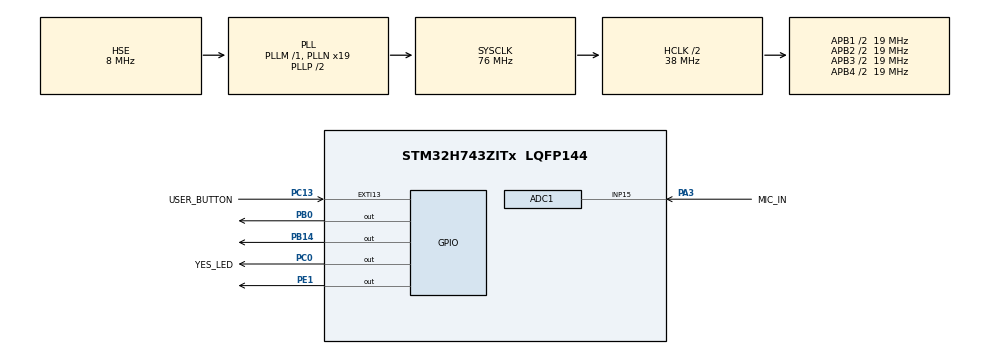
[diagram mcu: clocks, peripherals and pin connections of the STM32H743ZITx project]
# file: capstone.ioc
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ADC1.Channel-0\#ChannelRegularConversion=ADC_CHANNEL_15
ADC1.ClockPrescaler=ADC_CLOCK_ASYNC_DIV2
ADC1.ContinuousConvMode=DISABLE
ADC1.ConversionDataManagement=ADC_CONVERSIONDATA_DMA_CIRCULAR
ADC1.ExternalTrigConv=ADC_EXTERNALTRIG_T6_TRGO
ADC1.NbrOfConversionFlag=1
ADC1.OffsetNumber-0\#ChannelRegularConversion=ADC_OFFSET_NONE
ADC1.OffsetSignedSaturation-0\#ChannelRegularConversion=DISABLE
ADC1.Overrun=ADC_OVR_DATA_OVERWRITTEN
ADC1.Rank-0\#ChannelRegularConversion=1
ADC1.SamplingTime-0\#ChannelRegularConversion=ADC_SAMPLETIME_810CYCLES_5
ADC1.master=1
CORTEX_M7.CPU_DCache=Enabled
CORTEX_M7.CPU_ICache=Enabled
CORTEX_M7.default_mode_Activation=1
Dma.ADC1.0.Direction=DMA_PERIPH_TO_MEMORY
Dma.ADC1.0.EventEnable=DISABLE
Dma.ADC1.0.FIFOMode=DMA_FIFOMODE_DISABLE
Dma.ADC1.0.Instance=DMA1_Stream0
Dma.ADC1.0.MemDataAlignment=DMA_MDATAALIGN_HALFWORD
Dma.ADC1.0.MemInc=DMA_MINC_ENABLE
Dma.ADC1.0.Mode=DMA_CIRCULAR
Dma.ADC1.0.PeriphDataAlignment=DMA_PDATAALIGN_HALFWORD
Dma.ADC1.0.PeriphInc=DMA_PINC_DISABLE
Dma.ADC1.0.Polarity=HAL_DMAMUX_REQ_GEN_RISING
Dma.ADC1.0.Priority=DMA_PRIORITY_LOW
Dma.ADC1.0.RequestNumber=1
Dma.ADC1.0.SignalID=NONE
Dma.ADC1.0.SyncEnable=DISABLE
Dma.ADC1.0.SyncPolarity=HAL_DMAMUX_SYNC_NO_EVENT
Dma.ADC1.0.SyncRequestNumber=1
Dma.ADC1.0.SyncSignalID=NONE
Dma.Request0=ADC1
Mcu.Family=STM32H7
Mcu.Name=STM32H743ZITx
Mcu.Package=LQFP144
NUCLEO-H743ZI2.BUTTON=1
NUCLEO-H743ZI2.LD1=true
NUCLEO-H743ZI2.LD2=true
NUCLEO-H743ZI2.LD3=true
NUCLEO-H743ZI2.VCP=true
NVIC.DMA1_Stream0_IRQn=true\:0\:0\:false\:false\:true\:false\:true\:true
NVIC.EXTI15_10_IRQn=true\:0\:0\:false\:false\:true\:false\:true\:true
NVIC.PriorityGroup=NVIC_PRIORITYGROUP_4
PA13\ (JTMS/SWDIO).GPIO_Label=JTMS
PA13\ (JTMS/SWDIO).Signal=DEBUG_JTMS-SWDIO
PA14\ (JTCK/SWCLK).GPIO_Label=JTCK
PA14\ (JTCK/SWCLK).Signal=DEBUG_JTCK-SWCLK
PA3.GPIO_Label=MIC_IN
PA3.Signal=ADCx_INP15
PB0.Signal=GPIO_Output
PB14.Signal=GPIO_Output
PC0.GPIO_Label=YES_LED
PC0.Signal=GPIO_Output
PC13.GPIO_Label=USER_BUTTON
PC13.GPIO_PuPd=GPIO_PULLDOWN
PC13.Signal=GPXTI13
PC14-OSC32_IN\ (OSC32_IN).Signal=RCC_OSC32_IN
PC15-OSC32_OUT\ (OSC32_OUT).Signal=RCC_OSC32_OUT
PD8.Signal=USART3_TX
PD9.Signal=USART3_RX
PE1.Signal=GPIO_Output
PH0-OSC_IN\ (PH0).Mode=HSE-External-Clock-Source
PH0-OSC_IN\ (PH0).Signal=RCC_OSC_IN
PH1-OSC_OUT\ (PH1).Signal=RCC_OSC_OUT
ProjectManager.HeapSize=0x800
ProjectManager.StackSize=0x800
ProjectManager.TargetToolchain=STM32CubeIDE
RCC.ADCFreq_Value=76000000
RCC.APB1CLKDivider=RCC_HCLK_DIV4
RCC.APB1Freq_Value=19000000
RCC.APB2CLKDivider=RCC_HCLK_DIV2
RCC.APB2Freq_Value=19000000
RCC.APB3Freq_Value=19000000
RCC.APB4Freq_Value=19000000
RCC.CortexFreq_Value=76000000
RCC.D1PPRE=RCC_APB3_DIV2
RCC.D2PPRE1=RCC_APB1_DIV2
RCC.D2PPRE2=RCC_APB2_DIV2
RCC.D3PPRE=RCC_APB4_DIV2
RCC.DIVM1=1
RCC.DIVM2=1
RCC.DIVM3=4
RCC.DIVN1=19
RCC.DIVN2=19
RCC.DIVN3=480
RCC.DIVQ1=20
RCC.DIVQ3=8
RCC.FLatency=FLASH_LATENCY_0
RCC.HCLKFreq_Value=38000000
RCC.HPRE=RCC_HCLK_DIV2
RCC.HSE_VALUE=8000000
RCC.PLL2FRACN=0
RCC.PLLFRACN=0
RCC.PLLM=25
RCC.PLLMUL=RCC_PLL_MUL9
RCC.PLLN=432
RCC.PLLQ=9
RCC.PLLSourceVirtual=RCC_PLLSOURCE_HSE
RCC.PRESCALERUSB=RCC_USBCLKSOURCE_PLL_DIV1_5
RCC.PWR_Regulator_Voltage_Scale=PWR_REGULATOR_VOLTAGE_SCALE0
RCC.SYSCLKFreq_VALUE=76000000
RCC.SYSCLKSource=RCC_SYSCLKSOURCE_PLLCLK
RCC.SYSCLKSourceVirtual=RCC_SYSCLKSOURCE_PLLCLK
RCC.USBFreq_Value=7600000
SH.ADCx_INP15.0=ADC1_INP15,IN15-Single-Ended
STMicroelectronics.X-CUBE-AI.10.2.0.ActivationBufferSizeList=122760
STMicroelectronics.X-CUBE-AI.10.2.0.ActivationBuffers=pool0
STMicroelectronics.X-CUBE-AI.10.2.0.ActivationNames=pool0
STMicroelectronics.X-CUBE-AI.10.2.0.ActivationSizes=AI_NETWORK_DATA_ACTIVATION_1_SIZE
STMicroelectronics.X-CUBE-AI.10.2.0.HeapSize=0x800
STMicroelectronics.X-CUBE-AI.10.2.0.InternalRamActivationBufferMaxSize=AI_NETWORK_DATA_ACTIVATIONS_SIZE
STMicroelectronics.X-CUBE-AI.10.2.0.LatestDirectoryUsed-23a378911d3730022b36181c35f4ee57806923c5281fa32a20c0eb6b6d065218=/Users/parth/Documents/vscode/capstone/python
STMicroelectronics.X-CUBE-AI.10.2.0.MaximumNumberOfInputLayer=1
STMicroelectronics.X-CUBE-AI.10.2.0.MaximumNumberOfOutputLayer=1
STMicroelectronics.X-CUBE-AI.10.2.0.MaximumSizeOfInputLayer=1
STMicroelectronics.X-CUBE-AI.10.2.0.MaximumSizeOfOutputLayer=1
STMicroelectronics.X-CUBE-AI.10.2.0.ModelActualCompression-23a378911d3730022b36181c35f4ee57806923c5281fa32a20c0eb6b6d065218=0.0
STMicroelectronics.X-CUBE-AI.10.2.0.ModelCompression-23a378911d3730022b36181c35f4ee57806923c5281fa32a20c0eb6b6d065218=None
STMicroelectronics.X-CUBE-AI.10.2.0.ModelFlashOccupation-23a378911d3730022b36181c35f4ee57806923c5281fa32a20c0eb6b6d065218=1275524
STMicroelectronics.X-CUBE-AI.10.2.0.ModelHashList=23a378911d3730022b36181c35f4ee57806923c5281fa32a20c0eb6b6d065218
STMicroelectronics.X-CUBE-AI.10.2.0.ModelKind-23a378911d3730022b36181c35f4ee57806923c5281fa32a20c0eb6b6d065218=TFLITE
STMicroelectronics.X-CUBE-AI.10.2.0.ModelMacc-23a378911d3730022b36181c35f4ee57806923c5281fa32a20c0eb6b6d065218=3751632
STMicroelectronics.X-CUBE-AI.10.2.0.ModelName-23a378911d3730022b36181c35f4ee57806923c5281fa32a20c0eb6b6d065218=network
STMicroelectronics.X-CUBE-AI.10.2.0.ModelNameList=network
STMicroelectronics.X-CUBE-AI.10.2.0.ModelRamOccupation-23a378911d3730022b36181c35f4ee57806923c5281fa32a20c0eb6b6d065218=122760
STMicroelectronics.X-CUBE-AI.10.2.0.ModelStructureFile-23a378911d3730022b36181c35f4ee57806923c5281fa32a20c0eb6b6d065218=/Users/parth/Documents/vscode/capstone/python/kws_model.tflite
STMicroelectronics.X-CUBE-AI.10.2.0.ModelType-23a378911d3730022b36181c35f4ee57806923c5281fa32a20c0eb6b6d065218=STM32Cube.AI MCU runtime
STMicroelectronics.X-CUBE-AI.10.2.0.ReadyForCodeGeneration=true
STMicroelectronics.X-CUBE-AI.10.2.0.StackSize=0x800
STMicroelectronics.X-CUBE-AI.10.2.0.WorkingBufferStartAddrList=0xFFFFFFFF
STMicroelectronics.X-CUBE-AI.10.2.0.XAaCUBEAaAICcArtificialOoIntelligenceJjCore=true
STMicroelectronics.X-CUBE-AI.10.2.0.copyWeightToRam=false
STMicroelectronics.X-CUBE-AI.10.2.0.copyWeightToRam-23a378911d3730022b36181c35f4ee57806923c5281fa32a20c0eb6b6d065218=false
STMicroelectronics.X-CUBE-AI.10.2.0.customLayerConfigEnabled=false
STMicroelectronics.X-CUBE-AI.10.2.0.customLayerConfigEnabled-23a378911d3730022b36181c35f4ee57806923c5281fa32a20c0eb6b6d065218=false
STMicroelectronics.X-CUBE-AI.10.2.0.noOnnxIoTranspose=false
STMicroelectronics.X-CUBE-AI.10.2.0.noOnnxIoTranspose-23a378911d3730022b36181c35f4ee57806923c5281fa32a20c0eb6b6d065218=false
STMicroelectronics.X-CUBE-AI.10.2.0.optimization=time
STMicroelectronics.X-CUBE-AI.10.2.0.optimization-23a378911d3730022b36181c35f4ee57806923c5281fa32a20c0eb6b6d065218=time
STMicroelectronics.X-CUBE-AI.10.2.0.outputDirectory=/Users/parth/.stm32cubemx/attempt1_output
STMicroelectronics.X-CUBE-AI.10.2.0.useInputAllocation=true
STMicroelectronics.X-CUBE-AI.10.2.0.useInputAllocation-23a378911d3730022b36181c35f4ee57806923c5281fa32a20c0eb6b6d065218=true
STMicroelectronics.X-CUBE-AI.10.2.0.useOutputAllocation=true
STMicroelectronics.X-CUBE-AI.10.2.0.useOutputAllocation-23a378911d3730022b36181c35f4ee57806923c5281fa32a20c0eb6b6d065218=true
TIM1.Period=1999
TIM1.TIM_MasterOutputTrigger=TIM_TRGO_UPDATE
TIM6.Period=95-1
TIM6.Prescaler=25-1
TIM6.TIM_MasterOutputTrigger=TIM_TRGO_UPDATE
VP_CRC_VS_CRC.Mode=CRC_Activate
VP_MEMORYMAP_VS_MEMORYMAP.Mode=CurAppReg
VP_NUCLEO-H743ZI2_VS_BSP_COMMON.Mode=COMMON
VP_STMicroelectronics.X-CUBE-AI_VS_ArtificialOoIntelligenceJjXAaCUBEAaAI_10.2.0.Mode=ArtificialOoIntelligenceJjXAaCUBEAaAI
VP_TIM1_VS_ClockSourceINT.Mode=Internal
VP_TIM6_VS_ClockSourceINT.Mode=Enable_Timer
board=NUCLEO-H743ZI2

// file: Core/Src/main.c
/* USER CODE BEGIN Header */
/**
  ******************************************************************************
  * @file           : main.c
  * @brief          : Main program body
  ******************************************************************************
  * @attention
  *
  * Copyright (c) 2025 STMicroelectronics.
  * All rights reserved.
  *
  * This software is licensed under terms that can be found in the LICENSE file
  * in the root directory of this software component.
  * If no LICENSE file comes with this software, it is provided AS-IS.
  *
  ******************************************************************************
  */
/* USER CODE END Header */
#include "main.h"

/* USER CODE BEGIN Includes */
#include <arm_math.h>
#include "dsp_pipeline.h"
#include "cnn.h"
#include "test_audio.h"
/* USER CODE END Includes */

/* USER CODE BEGIN PD */
#define ADC_BUF_LEN 1024
#define ADC_TRANSIENT_LEN 32
#define ARM_MATH_CM7
#define __FPU_PRESENT 1
#define FFT_LEN 1024
#define SAMPLING_FREQ 48000
#define DF_1024 (SAMPLING_FREQ / 1024)
#define DF_256 (SAMPLING_FREQ / 256)
/* USER CODE END PD */

COM_InitTypeDef BspCOMInit;
ADC_HandleTypeDef hadc1;
DMA_HandleTypeDef hdma_adc1;

CRC_HandleTypeDef hcrc;

TIM_HandleTypeDef htim1;
TIM_HandleTypeDef htim6;

/* USER CODE BEGIN PV */
//float v_print = 0.0;
//volatile uint16_t adc_buffer[ADC_BUF_LEN];
//volatile uint8_t adc_buffer_filled = 0;
//float complex_array[ADC_BUF_LEN * 2];
//float complex_array_256[256 * 2];
//float complex_array_odd[ADC_BUF_LEN * 2];
//float fft_magnitude_1024[FFT_LEN];
//float fft_magnitude_256[256];
//float fft_magnitude_odd[FFT_LEN];
//
//float fft_2d_image[64][64*2];
//float fft_2d_magnitude[64][64];

extern float32_t full_audio[AUDIO_LENGTH];
extern volatile float32_t ai_out_data[3];

uint16_t raw_adc_buffer[16000];
volatile uint8_t half_transfer_ready = 0;
volatile uint8_t full_transfer_ready = 0;
volatile uint8_t button_pressed = 0;

/* USER CODE END PV */

void SystemClock_Config(void);
static void MPU_Config(void);
static void MX_GPIO_Init(void);
static void MX_DMA_Init(void);
static void MX_ADC1_Init(void);
static void MX_TIM1_Init(void);
static void MX_CRC_Init(void);
static void MX_TIM6_Init(void);

int main(void)
{

  /* MPU Configuration--------------------------------------------------------*/
  MPU_Config();

  /* Enable the CPU Cache */

  /* Enable I-Cache---------------------------------------------------------*/
  SCB_EnableICache();

  /* Enable D-Cache---------------------------------------------------------*/
  SCB_EnableDCache();

  /* MCU Configuration--------------------------------------------------------*/

  /* Reset of all peripherals, Initializes the Flash interface and the Systick. */
  HAL_Init();

  /* Configure the system clock */
  SystemClock_Config();

  /* Initialize all configured peripherals */
  MX_GPIO_Init();
  MX_DMA_Init();
  MX_ADC1_Init();
  MX_TIM1_Init();
  MX_CRC_Init();
  MX_TIM6_Init();
  /* USER CODE BEGIN 2 */

  if (HAL_ADCEx_Calibration_Start(&hadc1, ADC_CALIB_OFFSET, ADC_SINGLE_ENDED) != HAL_OK) {
	  Error_Handler();
  }

  HAL_TIM_Base_Start(&htim1);

  // Start the background DMA recording infinitely
  HAL_ADC_Start_DMA(&hadc1, (uint32_t*)raw_adc_buffer, 16000);
  HAL_TIM_Base_Start(&htim6);

  Init_Audio_Pipeline_Full();
  AI_Init();

  /* USER CODE END 2 */

  /* Initialize leds */
  BSP_LED_Init(LED_GREEN);
  BSP_LED_Init(LED_YELLOW);
  BSP_LED_Init(LED_RED);

  /* Initialize USER push-button, will be used to trigger an interrupt each time it's pressed.*/
  BSP_PB_Init(BUTTON_USER, BUTTON_MODE_EXTI);

  /* Initialize COM1 port (115200, 8 bits (7-bit data + 1 stop bit), no parity */
  BspCOMInit.BaudRate   = 115200;
  BspCOMInit.WordLength = COM_WORDLENGTH_8B;
  BspCOMInit.StopBits   = COM_STOPBITS_1;
  BspCOMInit.Parity     = COM_PARITY_NONE;
  BspCOMInit.HwFlowCtl  = COM_HWCONTROL_NONE;
  if (BSP_COM_Init(COM1, &BspCOMInit) != BSP_ERROR_NONE)
  {
    Error_Handler();
  }

  /* Infinite loop */
  while (1)
  {

    /* USER CODE BEGIN 3 */

	  // ==========================================
		// SCENARIO A: The First Half just finished
		// ==========================================
		if (half_transfer_ready) {
			half_transfer_ready = 0;

			// Calculate DC Bias for the whole buffer
			uint64_t sum = 0;
			for(int i = 0; i < 16000; i++) sum += raw_adc_buffer[i];
			float dc_bias = (float)sum / 16000.0f;

			// Stitch chronologically: [Older Second Half] + [New First Half]
			int out_idx = 0;
			for(int i = 8000; i < 16000; i++) {
				full_audio[out_idx++] = ((float)raw_adc_buffer[i] - dc_bias) / 32768.0f;
			}
			for(int i = 0; i < 8000; i++) {
				full_audio[out_idx++] = ((float)raw_adc_buffer[i] - dc_bias) / 32768.0f;
			}

			Process_Full_Audio();
			Run_AI_Inference();
		}

		// ==========================================
		// SCENARIO B: The Second Half just finished
		// ==========================================
		if (full_transfer_ready) {
			full_transfer_ready = 0;

			// Calculate DC Bias for the whole buffer
			uint64_t sum = 0;
			for(int i = 0; i < 16000; i++) sum += raw_adc_buffer[i];
			float dc_bias = (float)sum / 16000.0f;

			// The array is already in chronological order: [Old First Half] + [New Second Half]
			for(int i = 0; i < 16000; i++) {
				full_audio[i] = ((float)raw_adc_buffer[i] - dc_bias) / 32768.0f;
			}

			Process_Full_Audio();
			Run_AI_Inference();
		}

//	  if (button_pressed) {
//		  recording_complete = 0;
//
//		  // turn on adc & dma first
//		  HAL_ADC_Start_DMA(&hadc1, (uint32_t*)raw_adc_buffer, 16000);
//
//		  // start the timer
//		  HAL_TIM_Base_Start(&htim6);
//
//		  // wait until the adc buffer is filled
//		  while (!recording_complete) {
//
//		  }
//
//		  // at this point, we're done recording, and the adc+timer have turned off
//
//		  uint64_t sum = 0;
//		  for(int i = 0; i < 16000; i++) {
//		      sum += raw_adc_buffer[i];
//		  }
//		  float dc_bias = (float)sum / 16000.0f;
//
//		  // 2. Remove Bias, Normalize to [-1.0, 1.0], and copy to the AI buffer
//		  for(int i = 0; i < 16000; i++) {
//		      // Subtract the center, then scale by half the 16-bit max
//		      full_audio[i] = ((float)raw_adc_buffer[i] - dc_bias) / 32768.0f;
//		  }
//
//		  // 3. Run the pipeline!
//		  Process_Full_Audio();
//		  Run_AI_Inference();
//
//		  button_pressed = 0;
//	  }
//
	  if (ai_out_data[0] > 0.3) {
		  HAL_GPIO_WritePin(YES_LED_GPIO_Port, YES_LED_Pin, GPIO_PIN_SET);
	  } else {
		  HAL_GPIO_WritePin(YES_LED_GPIO_Port, YES_LED_Pin, GPIO_PIN_RESET);
	  }

//
//	  Init_Audio_Pipeline_Full();
//	  AI_Init();
//
//	  // copy over test array
//	  for(int i = 0; i < 16000; i++) {
//		full_audio[i] = TEST_AUDIO_UNKNOWN[i];
//	  }
//
//	  Process_Full_Audio();
//
//	  Run_AI_Inference();

//	  while (1) {
//
//	  }
  }
  /* USER CODE END 3 */
}

void SystemClock_Config(void)
{
  RCC_OscInitTypeDef RCC_OscInitStruct = {0};
  RCC_ClkInitTypeDef RCC_ClkInitStruct = {0};

  /** Supply configuration update enable
  */
  HAL_PWREx_ConfigSupply(PWR_LDO_SUPPLY);

  /** Configure the main internal regulator output voltage
  */
  __HAL_PWR_VOLTAGESCALING_CONFIG(PWR_REGULATOR_VOLTAGE_SCALE0);

  while(!__HAL_PWR_GET_FLAG(PWR_FLAG_VOSRDY)) {}

  /** Initializes the RCC Oscillators according to the specified parameters
  * in the RCC_OscInitTypeDef structure.
  */
  RCC_OscInitStruct.OscillatorType = RCC_OSCILLATORTYPE_HSE;
  RCC_OscInitStruct.HSEState = RCC_HSE_BYPASS;
  RCC_OscInitStruct.PLL.PLLState = RCC_PLL_ON;
  RCC_OscInitStruct.PLL.PLLSource = RCC_PLLSOURCE_HSE;
  RCC_OscInitStruct.PLL.PLLM = 1;
  RCC_OscInitStruct.PLL.PLLN = 19;
  RCC_OscInitStruct.PLL.PLLP = 2;
  RCC_OscInitStruct.PLL.PLLQ = 20;
  RCC_OscInitStruct.PLL.PLLR = 2;
  RCC_OscInitStruct.PLL.PLLRGE = RCC_PLL1VCIRANGE_3;
  RCC_OscInitStruct.PLL.PLLVCOSEL = RCC_PLL1VCOMEDIUM;
  RCC_OscInitStruct.PLL.PLLFRACN = 0;
  if (HAL_RCC_OscConfig(&RCC_OscInitStruct) != HAL_OK)
  {
    Error_Handler();
  }

  /** Initializes the CPU, AHB and APB buses clocks
  */
  RCC_ClkInitStruct.ClockType = RCC_CLOCKTYPE_HCLK|RCC_CLOCKTYPE_SYSCLK
                              |RCC_CLOCKTYPE_PCLK1|RCC_CLOCKTYPE_PCLK2
                              |RCC_CLOCKTYPE_D3PCLK1|RCC_CLOCKTYPE_D1PCLK1;
  RCC_ClkInitStruct.SYSCLKSource = RCC_SYSCLKSOURCE_PLLCLK;
  RCC_ClkInitStruct.SYSCLKDivider = RCC_SYSCLK_DIV1;
  RCC_ClkInitStruct.AHBCLKDivider = RCC_HCLK_DIV2;
  RCC_ClkInitStruct.APB3CLKDivider = RCC_APB3_DIV2;
  RCC_ClkInitStruct.APB1CLKDivider = RCC_APB1_DIV2;
  RCC_ClkInitStruct.APB2CLKDivider = RCC_APB2_DIV2;
  RCC_ClkInitStruct.APB4CLKDivider = RCC_APB4_DIV2;

  if (HAL_RCC_ClockConfig(&RCC_ClkInitStruct, FLASH_LATENCY_0) != HAL_OK)
  {
    Error_Handler();
  }
}

static void MX_ADC1_Init(void)
{

  ADC_MultiModeTypeDef multimode = {0};
  ADC_ChannelConfTypeDef sConfig = {0};

  /** Common config
  */
  hadc1.Instance = ADC1;
  hadc1.Init.ClockPrescaler = ADC_CLOCK_ASYNC_DIV2;
  hadc1.Init.Resolution = ADC_RESOLUTION_16B;
  hadc1.Init.ScanConvMode = ADC_SCAN_DISABLE;
  hadc1.Init.EOCSelection = ADC_EOC_SINGLE_CONV;
  hadc1.Init.LowPowerAutoWait = DISABLE;
  hadc1.Init.ContinuousConvMode = DISABLE;
  hadc1.Init.NbrOfConversion = 1;
  hadc1.Init.DiscontinuousConvMode = DISABLE;
  hadc1.Init.ExternalTrigConv = ADC_EXTERNALTRIG_T6_TRGO;
  hadc1.Init.ExternalTrigConvEdge = ADC_EXTERNALTRIGCONVEDGE_RISING;
  hadc1.Init.ConversionDataManagement = ADC_CONVERSIONDATA_DMA_CIRCULAR;
  hadc1.Init.Overrun = ADC_OVR_DATA_OVERWRITTEN;
  hadc1.Init.LeftBitShift = ADC_LEFTBITSHIFT_NONE;
  hadc1.Init.OversamplingMode = DISABLE;
  hadc1.Init.Oversampling.Ratio = 1;
  if (HAL_ADC_Init(&hadc1) != HAL_OK)
  {
    Error_Handler();
  }

  /** Configure the ADC multi-mode
  */
  multimode.Mode = ADC_MODE_INDEPENDENT;
  if (HAL_ADCEx_MultiModeConfigChannel(&hadc1, &multimode) != HAL_OK)
  {
    Error_Handler();
  }

  /** Configure Regular Channel
  */
  sConfig.Channel = ADC_CHANNEL_15;
  sConfig.Rank = ADC_REGULAR_RANK_1;
  sConfig.SamplingTime = ADC_SAMPLETIME_810CYCLES_5;
  sConfig.SingleDiff = ADC_SINGLE_ENDED;
  sConfig.OffsetNumber = ADC_OFFSET_NONE;
  sConfig.Offset = 0;
  sConfig.OffsetSignedSaturation = DISABLE;
  if (HAL_ADC_ConfigChannel(&hadc1, &sConfig) != HAL_OK)
  {
    Error_Handler();
  }

}

static void MX_CRC_Init(void)
{

  hcrc.Instance = CRC;
  hcrc.Init.DefaultPolynomialUse = DEFAULT_POLYNOMIAL_ENABLE;
  hcrc.Init.DefaultInitValueUse = DEFAULT_INIT_VALUE_ENABLE;
  hcrc.Init.InputDataInversionMode = CRC_INPUTDATA_INVERSION_NONE;
  hcrc.Init.OutputDataInversionMode = CRC_OUTPUTDATA_INVERSION_DISABLE;
  hcrc.InputDataFormat = CRC_INPUTDATA_FORMAT_BYTES;
  if (HAL_CRC_Init(&hcrc) != HAL_OK)
  {
    Error_Handler();
  }

}

static void MX_TIM1_Init(void)
{

  TIM_ClockConfigTypeDef sClockSourceConfig = {0};
  TIM_MasterConfigTypeDef sMasterConfig = {0};

  htim1.Instance = TIM1;
  htim1.Init.Prescaler = 0;
  htim1.Init.CounterMode = TIM_COUNTERMODE_UP;
  htim1.Init.Period = 1999;
  htim1.Init.ClockDivision = TIM_CLOCKDIVISION_DIV1;
  htim1.Init.RepetitionCounter = 0;
  htim1.Init.AutoReloadPreload = TIM_AUTORELOAD_PRELOAD_DISABLE;
  if (HAL_TIM_Base_Init(&htim1) != HAL_OK)
  {
    Error_Handler();
  }
  sClockSourceConfig.ClockSource = TIM_CLOCKSOURCE_INTERNAL;
  if (HAL_TIM_ConfigClockSource(&htim1, &sClockSourceConfig) != HAL_OK)
  {
    Error_Handler();
  }
  sMasterConfig.MasterOutputTrigger = TIM_TRGO_UPDATE;
  sMasterConfig.MasterOutputTrigger2 = TIM_TRGO2_RESET;
  sMasterConfig.MasterSlaveMode = TIM_MASTERSLAVEMODE_DISABLE;
  if (HAL_TIMEx_MasterConfigSynchronization(&htim1, &sMasterConfig) != HAL_OK)
  {
    Error_Handler();
  }

}

static void MX_TIM6_Init(void)
{

  TIM_MasterConfigTypeDef sMasterConfig = {0};

  htim6.Instance = TIM6;
  htim6.Init.Prescaler = 25-1;
  htim6.Init.CounterMode = TIM_COUNTERMODE_UP;
  htim6.Init.Period = 95-1;
  htim6.Init.AutoReloadPreload = TIM_AUTORELOAD_PRELOAD_DISABLE;
  if (HAL_TIM_Base_Init(&htim6) != HAL_OK)
  {
    Error_Handler();
  }
  sMasterConfig.MasterOutputTrigger = TIM_TRGO_UPDATE;
  sMasterConfig.MasterSlaveMode = TIM_MASTERSLAVEMODE_DISABLE;
  if (HAL_TIMEx_MasterConfigSynchronization(&htim6, &sMasterConfig) != HAL_OK)
  {
    Error_Handler();
  }

}

static void MX_DMA_Init(void)
{

  /* DMA controller clock enable */
  __HAL_RCC_DMA1_CLK_ENABLE();

  /* DMA interrupt init */
  /* DMA1_Stream0_IRQn interrupt configuration */
  HAL_NVIC_SetPriority(DMA1_Stream0_IRQn, 0, 0);
  HAL_NVIC_EnableIRQ(DMA1_Stream0_IRQn);

}

static void MX_GPIO_Init(void)
{
  GPIO_InitTypeDef GPIO_InitStruct = {0};

  /* GPIO Ports Clock Enable */
  __HAL_RCC_GPIOC_CLK_ENABLE();
  __HAL_RCC_GPIOH_CLK_ENABLE();
  __HAL_RCC_GPIOA_CLK_ENABLE();
  __HAL_RCC_GPIOB_CLK_ENABLE();
  __HAL_RCC_GPIOD_CLK_ENABLE();
  __HAL_RCC_GPIOE_CLK_ENABLE();

  /*Configure GPIO pin Output Level */
  HAL_GPIO_WritePin(YES_LED_GPIO_Port, YES_LED_Pin, GPIO_PIN_RESET);

  /*Configure GPIO pin Output Level */
  HAL_GPIO_WritePin(GPIOB, GPIO_PIN_0|GPIO_PIN_14, GPIO_PIN_RESET);

  /*Configure GPIO pin Output Level */
  HAL_GPIO_WritePin(GPIOE, GPIO_PIN_1, GPIO_PIN_RESET);

  /*Configure GPIO pin : USER_BUTTON_Pin */
  GPIO_InitStruct.Pin = USER_BUTTON_Pin;
  GPIO_InitStruct.Mode = GPIO_MODE_IT_RISING;
  GPIO_InitStruct.Pull = GPIO_PULLDOWN;
  HAL_GPIO_Init(USER_BUTTON_GPIO_Port, &GPIO_InitStruct);

  /*Configure GPIO pin : YES_LED_Pin */
  GPIO_InitStruct.Pin = YES_LED_Pin;
  GPIO_InitStruct.Mode = GPIO_MODE_OUTPUT_PP;
  GPIO_InitStruct.Pull = GPIO_NOPULL;
  GPIO_InitStruct.Speed = GPIO_SPEED_FREQ_LOW;
  HAL_GPIO_Init(YES_LED_GPIO_Port, &GPIO_InitStruct);

  /*Configure GPIO pins : PB0 PB14 */
  GPIO_InitStruct.Pin = GPIO_PIN_0|GPIO_PIN_14;
  GPIO_InitStruct.Mode = GPIO_MODE_OUTPUT_PP;
  GPIO_InitStruct.Pull = GPIO_NOPULL;
  GPIO_InitStruct.Speed = GPIO_SPEED_FREQ_LOW;
  HAL_GPIO_Init(GPIOB, &GPIO_InitStruct);

  /*Configure GPIO pins : PD8 PD9 */
  GPIO_InitStruct.Pin = GPIO_PIN_8|GPIO_PIN_9;
  GPIO_InitStruct.Mode = GPIO_MODE_AF_PP;
  GPIO_InitStruct.Pull = GPIO_NOPULL;
  GPIO_InitStruct.Speed = GPIO_SPEED_FREQ_LOW;
  GPIO_InitStruct.Alternate = GPIO_AF7_USART3;
  HAL_GPIO_Init(GPIOD, &GPIO_InitStruct);

  /*Configure GPIO pin : PE1 */
  GPIO_InitStruct.Pin = GPIO_PIN_1;
  GPIO_InitStruct.Mode = GPIO_MODE_OUTPUT_PP;
  GPIO_InitStruct.Pull = GPIO_NOPULL;
  GPIO_InitStruct.Speed = GPIO_SPEED_FREQ_LOW;
  HAL_GPIO_Init(GPIOE, &GPIO_InitStruct);

  /* EXTI interrupt init*/
  HAL_NVIC_SetPriority(USER_BUTTON_EXTI_IRQn, 0, 0);
  HAL_NVIC_EnableIRQ(USER_BUTTON_EXTI_IRQn);

}

/* USER CODE BEGIN 4 */
// Fires when indices 0-7999 are just filled (0.5 seconds in)
void HAL_ADC_ConvHalfCpltCallback(ADC_HandleTypeDef* hadc) {
    if(hadc->Instance == ADC1) {
        half_transfer_ready = 1;
    }
}

// Fires when indices 8000-15999 are just filled (1.0 seconds in)
void HAL_ADC_ConvCpltCallback(ADC_HandleTypeDef* hadc) {
    if(hadc->Instance == ADC1) {
        full_transfer_ready = 1;
    }
}
int _write(int file, char *ptr, int len)
{
	int i = 0;
	for (i = 0; i < len; i++) {
		ITM_SendChar((*ptr++));
	}
	return len;
}

void HAL_GPIO_EXTI_Callback(uint16_t GPIO_Pin) {
	switch (GPIO_Pin) {
	case USER_BUTTON_Pin: {
		button_pressed = 1;
//		HAL_GPIO_TogglePin(RED_LED_GPIO_Port, RED_LED_Pin);
		break;
	}
	}
}
/* USER CODE END 4 */

 /* MPU Configuration */

void MPU_Config(void)
{
  MPU_Region_InitTypeDef MPU_InitStruct = {0};

  /* Disables the MPU */
  HAL_MPU_Disable();

  /** Initializes and configures the Region and the memory to be protected
  */
  MPU_InitStruct.Enable = MPU_REGION_ENABLE;
  MPU_InitStruct.Number = MPU_REGION_NUMBER0;
  MPU_InitStruct.BaseAddress = 0x0;
  MPU_InitStruct.Size = MPU_REGION_SIZE_4GB;
  MPU_InitStruct.SubRegionDisable = 0x87;
  MPU_InitStruct.TypeExtField = MPU_TEX_LEVEL0;
  MPU_InitStruct.AccessPermission = MPU_REGION_NO_ACCESS;
  MPU_InitStruct.DisableExec = MPU_INSTRUCTION_ACCESS_DISABLE;
  MPU_InitStruct.IsShareable = MPU_ACCESS_SHAREABLE;
  MPU_InitStruct.IsCacheable = MPU_ACCESS_NOT_CACHEABLE;
  MPU_InitStruct.IsBufferable = MPU_ACCESS_NOT_BUFFERABLE;

  HAL_MPU_ConfigRegion(&MPU_InitStruct);
  /* Enables the MPU */
  HAL_MPU_Enable(MPU_PRIVILEGED_DEFAULT);

}

void Error_Handler(void)
{
  __disable_irq();
  while (1)
  {
  }
}
